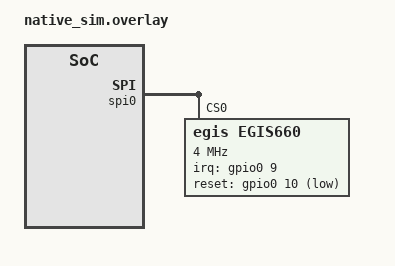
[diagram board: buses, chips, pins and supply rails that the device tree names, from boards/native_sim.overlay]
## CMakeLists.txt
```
# Copyright 2025 The ChromiumOS Authors
# Use of this source code is governed by a BSD-style license that can be
# found in the LICENSE file.

cmake_minimum_required(VERSION 3.13.1)
find_package(Zephyr REQUIRED HINTS "${ZEPHYR_BASE}")
project(egis660_test)

FILE(GLOB app_sources src/*.c)
target_sources(app PRIVATE ${app_sources})

# Add fingerprint drivers directory to include fingerprint_egis660_pal.h
target_include_directories(app PUBLIC ${PLATFORM_EC}/zephyr/drivers/fingerprint)
```

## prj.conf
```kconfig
# Copyright 2025 The ChromiumOS Authors
# Use of this source code is governed by a BSD-style license that can be
# found in the LICENSE file.

CONFIG_ZTEST=y
CONFIG_EMUL=y
CONFIG_GPIO=y
CONFIG_SPI=y
CONFIG_PM_DEVICE=y
CONFIG_FINGERPRINT_SENSOR=y
CONFIG_FINGERPRINT_SENSOR_EGIS660_PAL=y
CONFIG_APPLICATION_DEFINED_SYSCALL=y
CONFIG_UART_NATIVE_PTY_0_ON_STDINOUT=y
```

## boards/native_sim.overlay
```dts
/* Copyright 2026 The ChromiumOS Authors
 * Use of this source code is governed by a BSD-style license that can be
 * found in the LICENSE file.
 */

#define EGIS660_COMMON_IMAGE_PROPS \
	width = <96>; \
	height = <100>; \
	bits-per-pixel = <8>; \
	frame-size = <10260>; \
	v4l2-pixel-format = "V4L2_PIX_FMT_GREY";

/ {
	chosen {
		cros-fp,fingerprint-sensor = &egis660;
	};
};

&spi0 {
	egis660: egis660@0 {
		compatible = "egis,egis660";
		reg = <0>;
		spi-max-frequency = <4000000>;

		configs {
			compatible = "fingerprint-image-frame-params";
			config0 {
				EGIS660_COMMON_IMAGE_PROPS
				capture-type = "FINGERPRINT_CAPTURE_TYPE_VENDOR_FORMAT";
			};
			config1 {
				EGIS660_COMMON_IMAGE_PROPS
				capture-type = "FINGERPRINT_CAPTURE_TYPE_SIMPLE_IMAGE";
			};
			config2 {
				EGIS660_COMMON_IMAGE_PROPS
				capture-type = "FINGERPRINT_CAPTURE_TYPE_PATTERN0";
			};
			config3 {
				EGIS660_COMMON_IMAGE_PROPS
				capture-type = "FINGERPRINT_CAPTURE_TYPE_PATTERN1";
			};
			config4 {
				EGIS660_COMMON_IMAGE_PROPS
				capture-type = "FINGERPRINT_CAPTURE_TYPE_RESET_TEST";
			};
		};

		irq-gpios = <&gpio0 9 (GPIO_ACTIVE_HIGH | GPIO_PULL_DOWN)>;
		reset-gpios = <&gpio0 10 GPIO_ACTIVE_LOW>;
	};
};
```

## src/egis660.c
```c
/* Copyright 2026 The ChromiumOS Authors
 * Use of this source code is governed by a BSD-style license that can be
 * found in the LICENSE file.
 */

#include "egis660_pal_test_helpers.h"

#include <zephyr/device.h>
#include <zephyr/devicetree.h>
#include <zephyr/drivers/emul.h>
#include <zephyr/drivers/gpio.h>
#include <zephyr/drivers/gpio/gpio_emul.h>
#include <zephyr/fff.h>
#include <zephyr/sys/byteorder.h>
#include <zephyr/sys/util.h>
#include <zephyr/ztest.h>
#include <zephyr/ztest_assert.h>

#include <drivers/fingerprint.h>
#include <emul/emul_egis660.h>
#include <fingerprint/v4l2_types.h>
#include <fingerprint_egis660.h>
#include <fingerprint_egis660_private.h>

DEFINE_FFF_GLOBALS;

struct egis660_fixture {
	const struct device *dev;
	const struct emul *target;
};

static void *egis660_setup(void)
{
	static struct egis660_fixture fixture = {
		.dev = DEVICE_DT_GET(DT_NODELABEL(egis660)),
		.target = EMUL_DT_GET(DT_NODELABEL(egis660)),
	};

	zassert_not_null(fixture.dev);
	zassert_not_null(fixture.target);
	return &fixture;
}

/* Converts capture types from the ec domain to the egis domain. */
int convert_fp_capture_type_to_egis_capture_type(int mode);

#define EGIS660_IMAGE_FRAME_PARAM_INITIALIZER(idx, node_id)                 \
	{                                                                   \
		.frame_size = FINGERPRINT_SENSOR_FRAME_SIZE(idx, node_id),  \
		.pixel_format =                                             \
			FINGERPRINT_SENSOR_V4L2_PIXEL_FORMAT(idx, node_id), \
		.width = FINGERPRINT_SENSOR_RES_X(idx, node_id),            \
		.height = FINGERPRINT_SENSOR_RES_Y(idx, node_id),           \
		.bpp = FINGERPRINT_SENSOR_RES_BPP(idx, node_id),            \
		.fp_capture_type =                                          \
			FINGERPRINT_SENSOR_CAPTURE_TYPE(idx, node_id),      \
		.reserved = 0,                                              \
	}

static const struct fingerprint_image_frame_params
	expected_image_frame_params_array[] = { LISTIFY(
		NUM_IMAGE_CAPTURE_TYPES, EGIS660_IMAGE_FRAME_PARAM_INITIALIZER,
		(, ), DT_NODELABEL(egis660)) };

ZTEST_SUITE(egis660, NULL, egis660_setup, NULL, NULL, NULL);

ZTEST_F(egis660, test_init_success)
{
	zassert_ok(fingerprint_init(fixture->dev));
}

ZTEST_F(egis660, test_deinit_success)
{
	zassert_ok(fingerprint_deinit(fixture->dev));
}

ZTEST_F(egis660, test_get_info)
{
	struct fingerprint_sensor_info sensor_info;
	struct fingerprint_image_frame_params
		image_frame_params_array[NUM_IMAGE_CAPTURE_TYPES];
	uint8_t num_params = NUM_IMAGE_CAPTURE_TYPES;

	/* We need to initialize driver first to initialize 'error' field */
	zassert_ok(fingerprint_init(fixture->dev));
	zassert_ok(fingerprint_get_info(fixture->dev, &sensor_info,
					image_frame_params_array, &num_params));
	zassert_equal(
		num_params, NUM_IMAGE_CAPTURE_TYPES,
		"fingerprint_get_info returned an unexpected number of params");

	zassert_equal(sensor_info.vendor_id, FOURCC('E', 'G', 'I', 'S'));
	zassert_equal(sensor_info.product_id, 9);
	zassert_equal(sensor_info.version, 1);

	for (int i = 0; i < NUM_IMAGE_CAPTURE_TYPES; ++i) {
		zassert_equal(
			memcmp(&image_frame_params_array[i],
			       &expected_image_frame_params_array[i],
			       sizeof(struct fingerprint_image_frame_params)),
			0, "Struct comparison failed at index %d", i);
	}
}

ZTEST_F(egis660, test_enter_idle)
{
	zassert_ok(fingerprint_set_mode(fixture->dev,
					FINGERPRINT_SENSOR_MODE_IDLE));
}

ZTEST_F(egis660, test_invalid_mode_not_supported)
{
	zassert_equal(fingerprint_set_mode(fixture->dev, UINT16_MAX), -ENOTSUP);
}

FAKE_VOID_FUNC(test_interrupt_handler, const struct device *);

ZTEST_F(egis660, test_interrupt)
{
	const struct gpio_dt_spec spec =
		GPIO_DT_SPEC_GET(DT_NODELABEL(egis660), irq_gpios);

	RESET_FAKE(test_interrupt_handler);
	zassert_ok(fingerprint_config(fixture->dev, test_interrupt_handler));

	/* Enable interrupt (they are disabled by default). */
	zassert_ok(gpio_pin_interrupt_configure_dt(&spec,
						   GPIO_INT_EDGE_TO_ACTIVE));

	/*
	 * Toggle the GPIO twice. We expect that the driver will disable
	 * interrupt in interrupt handler, so handler should be called once.
	 */
	for (int i = 0; i < 2; i++) {
		gpio_emul_input_set(spec.port, spec.pin, 1);
		k_msleep(5);
		gpio_emul_input_set(spec.port, spec.pin, 0);
		k_msleep(5);
	}

	/* Verify the handler was called once. */
	zassert_equal(test_interrupt_handler_fake.call_count, 1);
}

ZTEST_F(egis660, test_maintenance_not_supported)
{
	uint8_t buffer[CONFIG_FINGERPRINT_SENSOR_IMAGE_SIZE];

	zassert_equal(fingerprint_maintenance(fixture->dev, buffer,
					      sizeof(buffer)),
		      -ENOTSUP);
}

ZTEST_F(egis660, test_finger_status_not_supported)
{
	zassert_equal(fingerprint_finger_status(fixture->dev), -ENOTSUP);
}

ZTEST_F(egis660, test_acquire_image_not_supported)
{
	uint8_t buffer[CONFIG_FINGERPRINT_SENSOR_IMAGE_SIZE];

	zassert_equal(fingerprint_acquire_image(fixture->dev, 0, buffer,
						sizeof(buffer)),
		      -ENOTSUP);
}

ZTEST_F(egis660, test_sensor_mode_detect_not_supported)
{
	zassert_equal(fingerprint_set_mode(fixture->dev,
					   FINGERPRINT_SENSOR_MODE_DETECT),
		      -ENOTSUP);
}

ZTEST_F(egis660, test_pal_spi_write_read)
{
	/*
	 * Prepare buffer with command and place for response.
	 * Sensor should return hardware id.
	 */
	uint8_t hwid_cmd_buf[] = { 0xFC, 0x00, 0x00 };
	uint16_t hwid;

	zassert_ok(egis660_pal_spi_write_read(hwid_cmd_buf, 1, 2, false));
	/*
	 * Second and third bytes contain HWID. It's encoded in big endian so
	 * convert it cpu endianness.
	 */
	hwid = sys_be16_to_cpu(*(uint16_t *)&hwid_cmd_buf[1]);

	/*
	 * Last 4 bits of hardware id is a year of sensor production,
	 * could differ between sensors.
	 */
	zassert_equal(hwid >> 4, 0x2d1);
}

ZTEST_F(egis660, test_pal_spi_write_read_series)
{
	uint8_t hwid_cmd_buf[] = { 0xFC, 0x00, 0x00 };

	zassert_ok(egis660_pal_spi_write_read(hwid_cmd_buf, 1, 2, true));
	/* The second transfer is done, with the CS already asserted */
	zassert_ok(egis660_pal_spi_write_read(hwid_cmd_buf, 1, 2, false));
}

ZTEST_F(egis660, test_pal_check_irq)
{
	const struct gpio_dt_spec irq_pin =
		GPIO_DT_SPEC_GET(DT_NODELABEL(egis660), irq_gpios);

	gpio_emul_input_set(irq_pin.port, irq_pin.pin, 1);
	zassert_equal(egis660_pal_check_irq(), true);
	gpio_emul_input_set(irq_pin.port, irq_pin.pin, 0);
	zassert_equal(egis660_pal_check_irq(), false);
}

ZTEST_F(egis660, test_pal_read_irq)
{
	const struct gpio_dt_spec irq_pin =
		GPIO_DT_SPEC_GET(DT_NODELABEL(egis660), irq_gpios);

	gpio_emul_input_set(irq_pin.port, irq_pin.pin, 1);
	zassert_equal(egis660_pal_read_irq(), true);
	gpio_emul_input_set(irq_pin.port, irq_pin.pin, 0);
	zassert_equal(egis660_pal_read_irq(), false);
}

ZTEST_F(egis660, test_pal_reset_pin)
{
	const struct gpio_dt_spec reset_pin =
		GPIO_DT_SPEC_GET(DT_NODELABEL(egis660), reset_gpios);

	/* Reset is active when GPIO output is low. */
	egis660_pal_reset(true);
	zassert_equal(gpio_emul_output_get(reset_pin.port, reset_pin.pin), 0);

	/* Reset is inactive when GPIO output is high. */
	egis660_pal_reset(false);
	zassert_equal(gpio_emul_output_get(reset_pin.port, reset_pin.pin), 1);
}

ZTEST_F(egis660, test_pal_timebase_get_tick)
{
	zassert_equal(egis660_pal_timebase_get_tick(), k_uptime_get_32());
}

ZTEST_F(egis660, test_pal_timebase_delay_ms)
{
	uint32_t t1, t2;

	t1 = egis660_pal_timebase_get_tick();

	/* Wait 100ms. */
	egis660_pal_timebase_delay_ms(100);

	t2 = egis660_pal_timebase_get_tick();

	zassert_true((t2 - t1) == 100);
}

ZTEST_F(egis660, test_pal_memory_alloc)
{
	void *p;

	p = egis660_pal_malloc(2048);
	zassert_not_null(p);

	egis660_pal_free(p);
}

static ZTEST_DMEM volatile int expected_reason = -1;

void k_sys_fatal_error_handler(unsigned int reason, const struct arch_esf *pEsf)
{
	printk("Caught system error -- reason %d\n", reason);

	zassert_not_equal(expected_reason, -1, "Unexpected crash");
	zassert_equal(reason, expected_reason,
		      "Wrong crash type got %d expected %d\n", reason,
		      expected_reason);

	expected_reason = -1;
	ztest_test_pass();
}

ZTEST_F(egis660, test_convert_fp_capture_type_to_egis_capture_type)
{
	zassert_equal(convert_fp_capture_type_to_egis_capture_type(
			      FINGERPRINT_CAPTURE_TYPE_VENDOR_FORMAT),
		      EGIS_CAPTURE_VENDOR_FORMAT);
	zassert_equal(convert_fp_capture_type_to_egis_capture_type(
			      FINGERPRINT_CAPTURE_TYPE_SIMPLE_IMAGE),
		      EGIS_CAPTURE_SIMPLE_IMAGE);
	zassert_equal(convert_fp_capture_type_to_egis_capture_type(
			      FINGERPRINT_CAPTURE_TYPE_PATTERN0),
		      EGIS_CAPTURE_PATTERN0);
	zassert_equal(convert_fp_capture_type_to_egis_capture_type(
			      FINGERPRINT_CAPTURE_TYPE_PATTERN1),
		      EGIS_CAPTURE_PATTERN1);
	zassert_equal(convert_fp_capture_type_to_egis_capture_type(
			      FINGERPRINT_CAPTURE_TYPE_RESET_TEST),
		      EGIS_CAPTURE_RESET_TEST);
	zassert_equal(convert_fp_capture_type_to_egis_capture_type(
			      FINGERPRINT_CAPTURE_TYPE_MAX),
		      -EINVAL);
}

ZTEST_F(egis660, test_acquire_image_small_buffer_size)
{
	uint8_t buffer[CONFIG_FINGERPRINT_SENSOR_IMAGE_SIZE] = { 0 };
	size_t image_buf_size = CONFIG_FINGERPRINT_SENSOR_IMAGE_SIZE - 1;
	enum fingerprint_capture_type capture_type =
		FINGERPRINT_CAPTURE_TYPE_VENDOR_FORMAT;

	zassert_equal(fingerprint_acquire_image(fixture->dev, capture_type,
						buffer, image_buf_size),
		      -EINVAL);
}

ZTEST_F(egis660, test_acquire_image_wrong_capture_type)
{
	uint8_t buffer[CONFIG_FINGERPRINT_SENSOR_IMAGE_SIZE] = { 0 };
	enum fingerprint_capture_type capture_type =
		FINGERPRINT_CAPTURE_TYPE_MAX;

	zassert_equal(fingerprint_acquire_image(fixture->dev, capture_type,
						buffer, sizeof(buffer)),
		      -EINVAL);
}
```

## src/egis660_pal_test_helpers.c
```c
/* Copyright 2025 The ChromiumOS Authors
 * Use of this source code is governed by a BSD-style license that can be
 * found in the LICENSE file.
 */

#include "egis660_pal_test_helpers.h"

#include <fingerprint_egis660_pal.h>

int z_impl_egis660_pal_spi_write_read(uint8_t *data, size_t write_size,
				      size_t read_size, bool leave_cs_asserted)
{
	return egis_sensor_spi_write_read(data, write_size, read_size,
					  leave_cs_asserted);
}

bool z_impl_egis660_pal_spi_check_irq(void)
{
	return egis_sensor_spi_check_irq();
}

bool z_impl_egis660_pal_spi_read_irq(void)
{
	return egis_sensor_spi_read_irq();
}

void z_impl_egis660_pal_spi_reset(bool state)
{
	return egis_sensor_spi_reset(state);
}

uint32_t z_impl_egis660_pal_timebase_get_tick(void)
{
	return egis_timebase_get_tick();
}

void z_impl_egis660_pal_timebase_delay_ms(uint32_t ms)
{
	return egis_timebase_delay_ms(ms);
}

void *z_impl_egis660_pal_malloc(uint32_t size)
{
	return egis_malloc(size);
}

void z_impl_egis660_pal_free(void *data)
{
	return egis_free(data);
}
```

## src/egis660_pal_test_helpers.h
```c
/* Copyright 2025 The ChromiumOS Authors
 * Use of this source code is governed by a BSD-style license that can be
 * found in the LICENSE file.
 */

#ifndef ZEPHYR_TEST_DRIVERS_EGIS660_SRC_TEST_HELPERS_H_
#define ZEPHYR_TEST_DRIVERS_EGIS660_SRC_TEST_HELPERS_H_

#include <zephyr/kernel.h>

__syscall int egis660_pal_spi_write_read(uint8_t *data, size_t write_size,
					 size_t read_size,
					 bool leave_cs_asserted);
__syscall bool egis660_pal_spi_check_irq(void);
__syscall bool egis660_pal_spi_read_irq(void);
__syscall void egis660_pal_spi_reset(bool state);
__syscall uint32_t egis660_pal_timebase_get_tick(void);
__syscall void egis660_pal_timebase_delay_ms(uint32_t ms);
__syscall void *egis660_pal_malloc(uint32_t size);
__syscall void egis660_pal_free(void *data);

#include <zephyr/syscalls/egis660_pal_test_helpers.h>

#endif /* ZEPHYR_TEST_DRIVERS_EGIS660_SRC_TEST_HELPERS_H_ */
```
